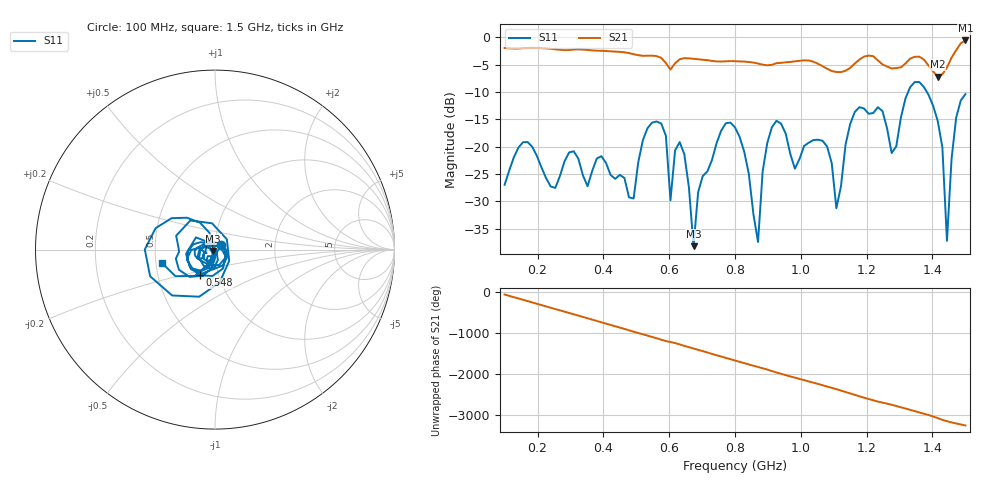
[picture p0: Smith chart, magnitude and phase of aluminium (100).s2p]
! NanoVNA-App
! Date: 2025-09-26 09:58:50
! Start: 100MHz Stop: 1,5GHz Points: 101
! S-Parameter data: F S11 S21 S12 S22
# Hz S RI R 50
!  Frequency  S11_Real  S11_Imag  S21_Real  S21_Imag  S12_Real  S12_Imag  S22_Real  S22_Imag
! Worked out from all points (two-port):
!   101 points, 100 MHz to 1.5 GHz, reference 50 ohm
!   highest |S21| = -0.54 dB at 1.5 GHz (marker M1); lowest = -7.1 dB at 1.416 GHz (marker M2)
!   |S21| within 3 dB of the highest: start of sweep to 567.8 MHz; 1.191 GHz to 1.222 GHz (31.25 MHz wide, 2.59 % of centre) (the widest 2 of 4)
!   lowest |S11| = -38.2 dB at 674 MHz (marker M3), VSWR 1.02, Z = 49 - j0.728 ohm
!   |S11| at or under -10 dB: start of sweep to 1.326 GHz; 1.383 GHz to end of sweep
!   S12 and S22 are empty: the file has one direction only
!   S11 on the Smith chart (normalised r, x): 100 MHz: 1.07, +0.06; 548 MHz: 0.81, -0.24; 1.5 GHz: 0.54, -0.09
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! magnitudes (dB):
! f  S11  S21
! 100 MHz  -27.0  -1.9
! 156 MHz  -19.2  -2.0
! 338 MHz  -25.2  -2.2
! 492 MHz  -29.5  -3.1
! 548 MHz  -15.6  -3.3
! 576 MHz  -15.8  -3.7
! 604 MHz  -29.8  -5.9
! 646 MHz  -21.4  -3.8
! 674 MHz  -38.2  -3.9
! 702 MHz  -25.4  -4.1
! 800 MHz  -16.5  -4.3
! 870 MHz  -37.4  -4.8
! 912 MHz  -16.4  -5.0
! 1.038 GHz  -18.8  -4.4
! 1.108 GHz  -31.3  -6.3
! 1.178 GHz  -12.8  -4.0
! 1.276 GHz  -21.2  -5.7
! 1.346 GHz  -8.2  -3.5
! 1.416 GHz  -15.3  -7.1
! 1.444 GHz  -37.2  -5.5
! 1.472 GHz  -14.7  -2.3
! 1.5 GHz  -10.4  -0.5
